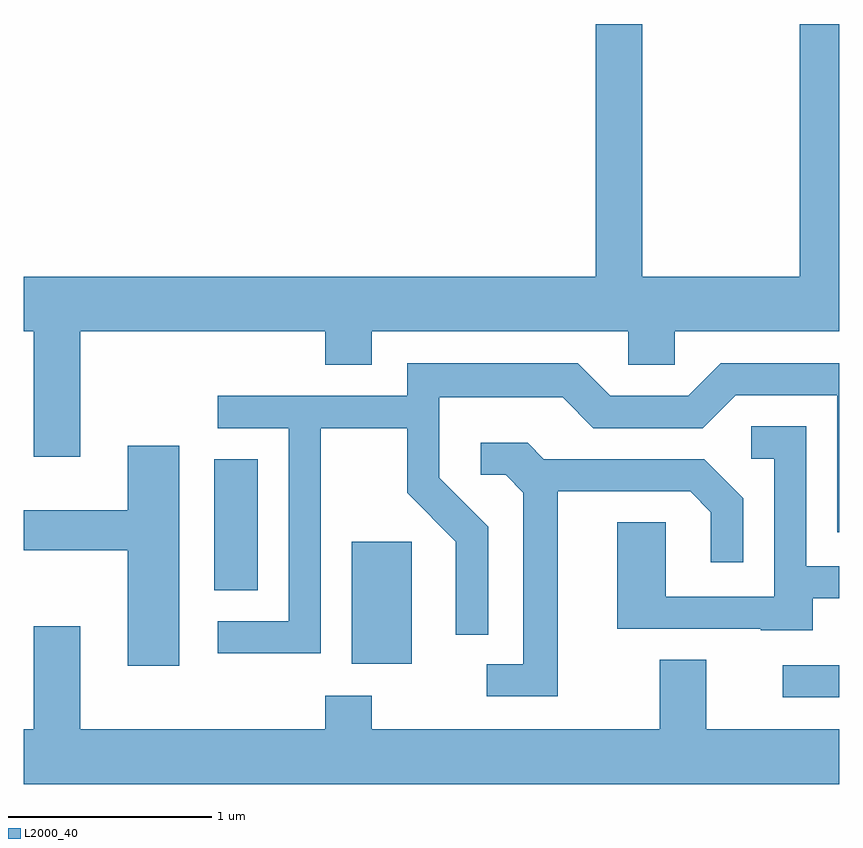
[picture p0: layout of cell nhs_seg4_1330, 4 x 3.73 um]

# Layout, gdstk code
import gdstk
lib = gdstk.Library(unit=1e-6, precision=1e-09)
def R(c, l, rs):  # rectangles x0, y0, x1, y1
    for r in rs: c.add(gdstk.rectangle(r[:2], r[2:], *l))
def P(c, l, *ps):  # polygons
    for p in ps: c.add(gdstk.Polygon(p, *l))
L2000_40 = (2000, 40)

nhs_seg4_1330 = lib.new_cell('nhs_seg4_1330')
R(nhs_seg4_1330, L2000_40, [(227.333,1330.681,227.611,1330.839), (225.221,1330.846,225.514,1331.444), (224.546,1331.206,224.759,1331.849)])
P(nhs_seg4_1330, L2000_40, [(223.889,1332.476),(225.091,1332.476),(225.091,1332.311),(225.319,1332.311),(225.319,1332.476),(226.576,1332.476),(226.576,1332.311),(226.804,1332.311),(226.804,1332.476),(227.611,1332.476),(227.611,1333.982),(227.416,1333.982),(227.416,1332.744),(226.644,1332.744),(226.644,1333.982),(226.416,1333.982),(226.416,1332.744),(223.611,1332.744),(223.611,1332.476),(223.661,1332.476),(223.661,1331.861),(223.889,1331.861)],
  [(225.069,1332.001),(225.491,1332.001),(225.491,1331.684),(225.731,1331.444),(225.731,1330.988),(225.889,1330.988),(225.889,1331.517),(225.649,1331.757),(225.649,1332.151),(226.254,1332.151),(226.404,1332.001),(226.942,1332.001),(227.102,1332.161),(227.601,1332.161),(227.601,1331.491),(227.611,1331.491),(227.611,1332.319),(227.029,1332.319),(226.869,1332.159),(226.487,1332.159),(226.327,1332.319),(225.491,1332.319),(225.491,1332.159),(224.563,1332.159),(224.563,1332.001),(224.911,1332.001),(224.911,1331.054),(224.563,1331.054),(224.563,1330.896),(225.069,1330.896)],
  [(227.479,1331.166),(227.611,1331.166),(227.611,1331.324),(227.449,1331.324),(227.449,1332.009),(227.178,1332.009),(227.178,1331.851),(227.291,1331.851),(227.291,1331.174),(226.759,1331.174),(226.759,1331.539),(226.521,1331.539),(226.521,1331.016),(227.225,1331.016),(227.225,1331.011),(227.479,1331.011)],
  [(226.229,1331.691),(226.879,1331.691),(226.981,1331.589),(226.981,1331.343),(227.139,1331.343),(227.139,1331.657),(226.947,1331.849),(226.162,1331.849),(226.082,1331.929),(225.853,1331.929),(225.853,1331.771),(225.974,1331.771),(226.061,1331.684),(226.061,1330.844),(225.883,1330.844),(225.883,1330.686),(226.229,1330.686)],
  [(224.374,1331.914),(224.121,1331.914),(224.121,1331.599),(223.611,1331.599),(223.611,1331.401),(224.121,1331.401),(224.121,1330.836),(224.374,1330.836)],
  [(227.611,1330.524),(226.959,1330.524),(226.959,1330.864),(226.731,1330.864),(226.731,1330.524),(225.319,1330.524),(225.319,1330.689),(225.091,1330.689),(225.091,1330.524),(223.889,1330.524),(223.889,1331.029),(223.661,1331.029),(223.661,1330.524),(223.611,1330.524),(223.611,1330.256),(227.611,1330.256)])

lib.write_gds('nhs_seg4_1330.gds')
